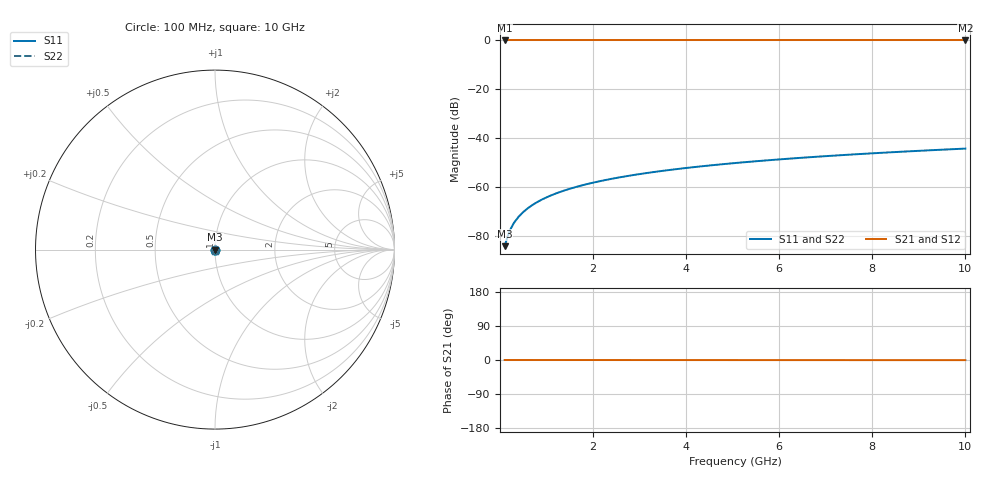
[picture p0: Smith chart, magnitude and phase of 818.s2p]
# Hz S RI R 50.00
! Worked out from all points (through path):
!   100 points, 100 MHz to 10 GHz, reference 50 ohm
!   highest |S21| = 0.00 dB at 100 MHz (marker M1); lowest = 0.0 dB at 10 GHz (marker M2)
!   lowest |S11| = -84.3 dB at 100 MHz (marker M3), VSWR 1.00, Z = 50 - j0.00609 ohm
!   |S11| at or under -10 dB: start of sweep to end of sweep
!   |S22| runs from -84.3 to -44.3 dB; largest |S21 - S12| = 1e-16
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1e8  -3.47e-07 -6.09e-05  1 -6.23e-05  1 -6.23e-05  -3.47e-07 -6.09e-05
2e8  -4.17e-07 -0.000122  1 -0.000125  1 -0.000125  -4.17e-07 -0.000122
3e8  -4.96e-07 -0.000183  1 -0.000187  1 -0.000187  -4.96e-07 -0.000183
4e8  -5.83e-07 -0.000244  1 -0.000249  1 -0.000249  -5.83e-07 -0.000244
5e8  -6.77e-07 -0.000305  1 -0.000311  1 -0.000311  -6.77e-07 -0.000305
6e8  -7.79e-07 -0.000365  1 -0.000374  1 -0.000374  -7.79e-07 -0.000365
7e8  -8.88e-07 -0.000426  1 -0.000436  1 -0.000436  -8.88e-07 -0.000426
9e8  -1.13e-06 -0.000548  1 -0.00056  1 -0.00056  -1.13e-06 -0.000548
1e9  -1.26e-06 -0.000609  1 -0.000623  1 -0.000623  -1.26e-06 -0.000609
1.2e9  -1.55e-06 -0.000731  1 -0.000747  1 -0.000747  -1.55e-06 -0.000731
1.5e9  -2.04e-06 -0.000914  1 -0.000934  1 -0.000934  -2.04e-06 -0.000914
1.8e9  -2.6e-06 -0.0011  1 -0.00112  1 -0.00112  -2.6e-06 -0.0011
2.1e9  -3.22e-06 -0.00128  1 -0.00131  1 -0.00131  -3.22e-06 -0.00128
2.5e9  -4.16e-06 -0.00152  1 -0.00156  1 -0.00156  -4.16e-06 -0.00152
2.9e9  -5.22e-06 -0.00177  1 -0.00181  1 -0.00181  -5.22e-06 -0.00177
3.4e9  -6.72e-06 -0.00207  1 -0.00212  1 -0.00212  -6.72e-06 -0.00207
4.2e9  -9.51e-06 -0.00256  1 -0.00261  1 -0.00261  -9.51e-06 -0.00256
5.1e9  -1.32e-05 -0.0031  1 -0.00317  1 -0.00317  -1.32e-05 -0.0031
5.9e9  -1.7e-05 -0.00359  1 -0.00367  1 -0.00367  -1.7e-05 -0.00359
6.7e9  -2.13e-05 -0.00408  1 -0.00417  1 -0.00417  -2.13e-05 -0.00408
8.4e9  -3.21e-05 -0.00511  1 -0.00523  1 -0.00523  -3.21e-05 -0.00511
1e10  -4.42e-05 -0.00608  1 -0.00622  1 -0.00622  -4.42e-05 -0.00608
